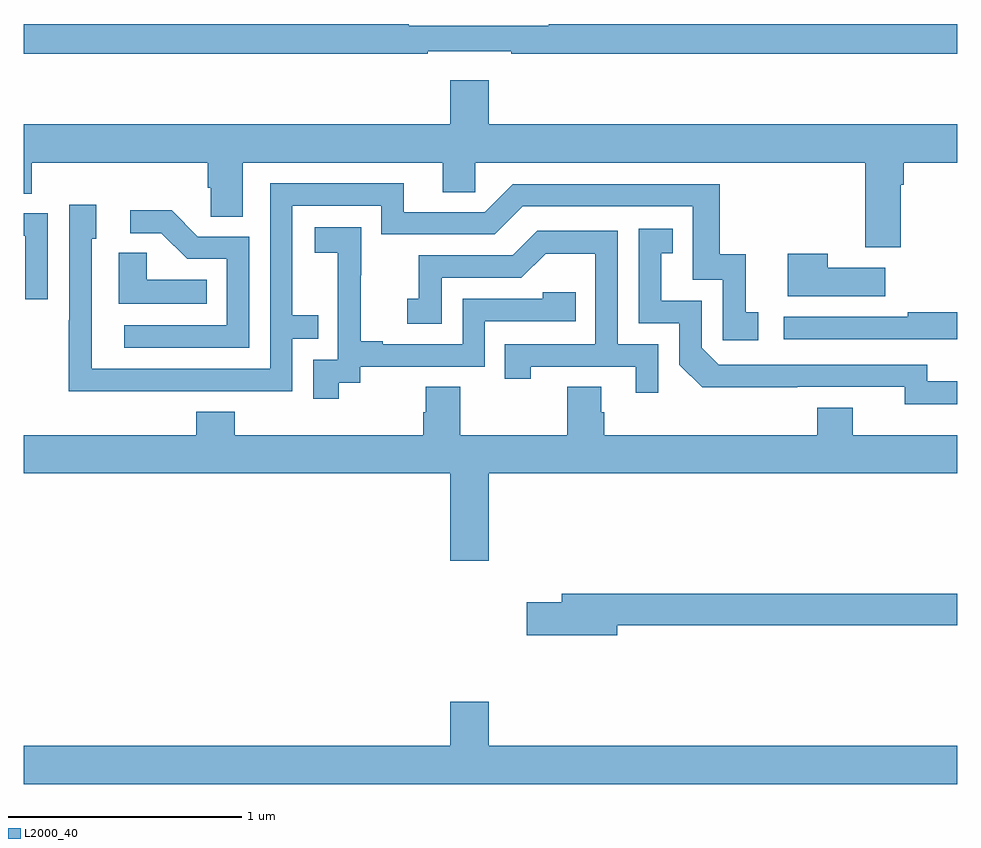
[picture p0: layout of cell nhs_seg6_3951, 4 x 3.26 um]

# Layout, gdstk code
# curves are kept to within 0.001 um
import gdstk
lib = gdstk.Library(unit=1e-6, precision=1e-09)
def P(c, l, *ps):  # polygons
    for p in ps: c.add(gdstk.Polygon(p, *l))
L2000_40 = (2000, 40)

nhs_seg6_3951 = lib.new_cell('nhs_seg6_3951')
P(nhs_seg6_3951, L2000_40, [(344.732,993.102),(345.088,993.102),(345.088,993.09),(347,993.09),(347,993.218),(345.25,993.218),(345.25,993.211),(344.65,993.211),(344.65,993.218),(343,993.218),(343,993.09),(344.732,993.09)],
  [(346.759,992.528),(346.772,992.528),(346.772,992.624),(347,992.624),(347,992.788),(344.992,992.788),(344.992,992.977),(344.828,992.977),(344.828,992.788),(343,992.788),(343,992.491),(343.034,992.491),(343.034,992.624),(343.787,992.624),(343.787,992.515),(343.8,992.515),(343.8,992.392),(343.939,992.392),(343.939,992.624),(344.795,992.624),(344.795,992.497),(344.934,992.497),(344.934,992.624),(346.607,992.624),(346.607,992.262),(346.759,992.262)],
  [(343.655,991.644),(344.151,991.644),(344.151,991.869),(344.261,991.869),(344.261,991.97),(344.151,991.97),(344.151,992.439),(344.532,992.439),(344.532,992.316),(345.018,992.316),(345.138,992.436),(345.867,992.436),(345.867,992.121),(345.996,992.121),(345.996,991.863),(346.147,991.863),(346.147,991.983),(346.094,991.983),(346.094,992.23),(345.983,992.23),(345.983,992.532),(345.096,992.532),(344.976,992.412),(344.629,992.412),(344.629,992.535),(344.055,992.535),(344.055,991.74),(343.29,991.74),(343.29,992.298),(343.309,992.298),(343.309,992.443),(343.194,992.443),(343.194,991.949),(343.192,991.949),(343.192,991.643)],
  [(343.965,992.307),(343.746,992.307),(343.633,992.42),(343.455,992.42),(343.455,992.322),(343.589,992.322),(343.7,992.211),(343.869,992.211),(343.869,991.926),(343.431,991.926),(343.431,991.83),(343.965,991.83)],
  [(343.101,992.406),(343,992.406),(343,992.31),(343.005,992.31),(343.005,992.037),(343.101,992.037)],
  [(344.35,991.681),(344.442,991.681),(344.442,991.749),(344.976,991.749),(344.976,991.944),(345.365,991.944),(345.365,992.067),(345.225,992.067),(345.225,992.04),(344.88,992.04),(344.88,991.845),(344.539,991.845),(344.539,991.858),(344.444,991.858),(344.444,992.141),(344.445,992.141),(344.445,992.347),(344.247,992.347),(344.247,992.237),(344.345,992.237),(344.345,992.009),(344.346,992.009),(344.346,991.779),(344.241,991.779),(344.241,991.611),(344.35,991.611)],
  [(347,991.686),(346.872,991.686),(346.872,991.758),(345.978,991.758),(345.906,991.83),(345.906,992.031),(345.733,992.031),(345.733,992.235),(345.782,992.235),(345.782,992.341),(345.636,992.341),(345.636,991.935),(345.81,991.935),(345.81,991.758),(345.908,991.661),(346.776,991.662),(346.776,991.589),(347,991.589)],
  [(345.72,991.845),(345.546,991.845),(345.546,992.331),(345.2,992.331),(345.095,992.226),(344.692,992.226),(344.692,992.041),(344.643,992.041),(344.643,991.932),(344.79,991.932),(344.79,992.13),(345.132,992.13),(345.236,992.234),(345.45,992.234),(345.45,991.845),(345.061,991.845),(345.061,991.698),(345.172,991.698),(345.172,991.749),(345.623,991.749),(345.623,991.638),(345.72,991.638)],
  [(343.784,992.122),(343.527,992.122),(343.527,992.237),(343.406,992.237),(343.406,992.018),(343.784,992.018)],
  [(346.693,992.173),(346.445,992.173),(346.445,992.233),(346.274,992.233),(346.274,992.051),(346.693,992.051)],
  [(347,991.982),(346.789,991.982),(346.789,991.962),(346.257,991.962),(346.257,991.866),(347,991.866)],
  [(344.992,991.292),(347,991.292),(347,991.456),(346.552,991.456),(346.552,991.573),(346.4,991.573),(346.4,991.456),(345.488,991.456),(345.488,991.554),(345.475,991.554),(345.475,991.664),(345.328,991.664),(345.328,991.456),(344.871,991.456),(344.871,991.664),(344.723,991.664),(344.723,991.554),(344.711,991.554),(344.711,991.456),(343.904,991.456),(343.904,991.555),(343.739,991.555),(343.739,991.456),(343,991.456),(343,991.292),(344.828,991.292),(344.828,990.918),(344.992,990.918)],
  [(345.544,990.64),(347,990.64),(347,990.776),(345.305,990.776),(345.305,990.74),(345.156,990.74),(345.156,990.598),(345.544,990.598)],
  [(347,990.124),(344.992,990.124),(344.992,990.313),(344.828,990.313),(344.828,990.124),(343,990.124),(343,989.96),(347,989.96)])

lib.write_gds('nhs_seg6_3951.gds')
